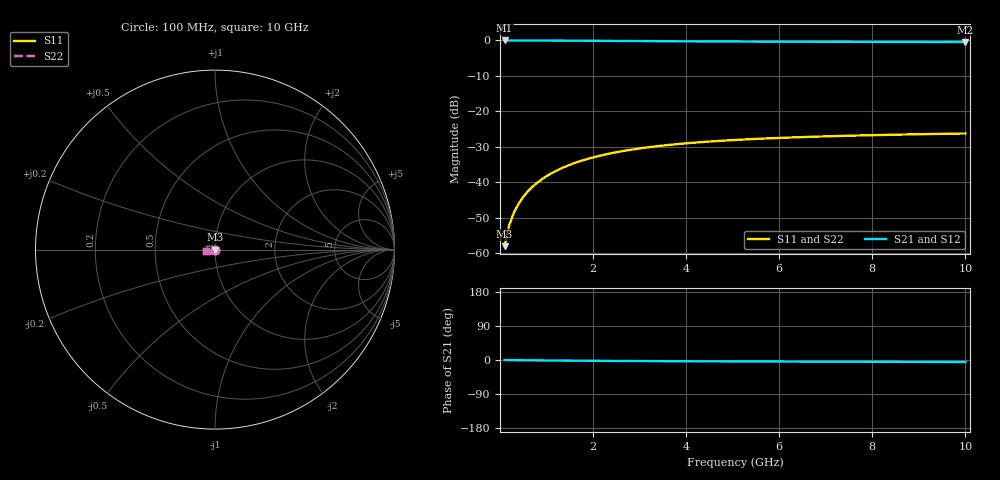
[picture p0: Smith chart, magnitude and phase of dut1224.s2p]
! Touchstone file exported from HFSS 2024.1.0
!  File:  C:/UserFiles/LocalFiles/RDL_TSV_Batchsim/temp_TSV1_1224_1780249707.aedt
!  Generated:  01:54:48 AM Jun  1, 2026
!  Design:  TSV1
!  Project:  temp_TSV1_1224_1780249707
!  Setup:  Setup1
!  Solution:  Sweep
! Variables:
!  dtsv = 9.49um
!  hbump = 3um
!  htsv = 84.4um
!  lrdl = 252.1521522um
!  p = 40
!  p1 = 43.75um
!  t = 500um
!  trdl = 3um
!  wrdl = 24.89489489um
# GHz S MA R 50.000000
! Terminal data exported
! Port[1] = TSV22_T1
! Port[2] = TSV22_T2
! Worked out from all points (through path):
!   100 points, 100 MHz to 10 GHz, reference 50 ohm
!   highest |S21| = 0.00 dB at 100 MHz (marker M1); lowest = -0.4 dB at 10 GHz (marker M2)
!   lowest |S11| = -58.0 dB at 100 MHz (marker M3), VSWR 1.00, Z = 50 - j0.125 ohm
!   |S11| at or under -10 dB: start of sweep to end of sweep
!   |S22| runs from -58.0 to -26.2 dB; largest |S21 - S12| = 7e-15
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0.1  0.001254 -83.9  0.9998 -0.1  0.9998 -0.1  0.001254 -83.9
! Gamma 0 0 0 0
! Port Impedance 50 0 50 0
0.2  0.002493 -89.1  0.9997 -0.2  0.9997 -0.2  0.002493 -89.1
0.3  0.003737 -92.0  0.9995 -0.4  0.9995 -0.4  0.003737 -92.0
0.4  0.004978 -94.2  0.9992 -0.5  0.9992 -0.5  0.004978 -94.2
0.5  0.006212 -96.2  0.9989 -0.6  0.9989 -0.6  0.006212 -96.2
0.6  0.007435 -98.1  0.9985 -0.7  0.9985 -0.7  0.007435 -98.1
0.7  0.008643 -99.8  0.9981 -0.8  0.9981 -0.8  0.008643 -99.8
0.8  0.009836 -101.6  0.9976 -1.0  0.9976 -1.0  0.009836 -101.6
0.9  0.01101 -103.2  0.997 -1.1  0.997 -1.1  0.01101 -103.2
1.1  0.0133 -106.5  0.9958 -1.3  0.9958 -1.3  0.0133 -106.5
1.4  0.01656 -111.1  0.9936 -1.6  0.9936 -1.6  0.01656 -111.1
1.6  0.0186 -114.0  0.992 -1.8  0.992 -1.8  0.0186 -114.0
1.8  0.02054 -116.8  0.9903 -2.0  0.9903 -2.0  0.02054 -116.8
2.1  0.02325 -120.8  0.9877 -2.2  0.9877 -2.2  0.02325 -120.8
2.5  0.02649 -125.8  0.9841 -2.5  0.9841 -2.5  0.02649 -125.8
2.9  0.02933 -130.4  0.9807 -2.7  0.9807 -2.7  0.02933 -130.4
3.4  0.03237 -135.5  0.9766 -3.0  0.9766 -3.0  0.03237 -135.5
4.2  0.03628 -142.7  0.9708 -3.4  0.9708 -3.4  0.03628 -142.7
5.1  0.03962 -149.5  0.9655 -3.7  0.9655 -3.7  0.03962 -149.5
6.7  0.04376 -159.2  0.9584 -4.3  0.9584 -4.3  0.04376 -159.2
8.4  0.04672 -167.3  0.9533 -4.8  0.9533 -4.8  0.04672 -167.3
10  0.04875 -173.6  0.95 -5.3  0.95 -5.3  0.04875 -173.6
